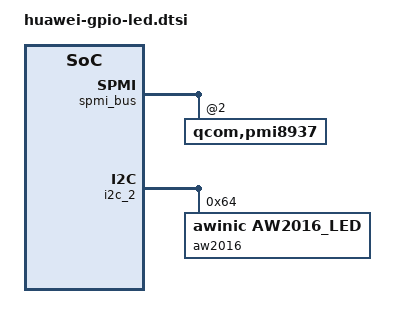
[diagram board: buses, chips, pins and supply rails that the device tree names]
/*remove pmi leds*/
&spmi_bus {
	qcom,pmi8937@2 {
		/delete-node/ qcom,leds@a100;
	};
};

&i2c_2 {
	aw2016@64 {/* add for breath led. */
		status = "okay";
		compatible = "awinic,aw2016_led";
		reg = <0x64>;
	aw2016,red {
			aw2016,name = "red";
			aw2016,id = <0>;
			aw2016,imax = <3>;
			aw2016,led-current = <6>;
			aw2016,max-brightness = <255>;
			aw2016,rise-time-ms = <6>;
			aw2016,hold-time-ms = <0>;
			aw2016,fall-time-ms = <6>;
			aw2016,off-time-ms = <4>;
		};

	aw2016,green {
			aw2016,name = "green";
			aw2016,id = <1>;
			aw2016,imax = <3>;
			aw2016,led-current = <3>;
			aw2016,max-brightness = <255>;
			aw2016,rise-time-ms = <6>;
			aw2016,hold-time-ms = <0>;
			aw2016,fall-time-ms = <6>;
			aw2016,off-time-ms = <4>;
		};
	};
};
